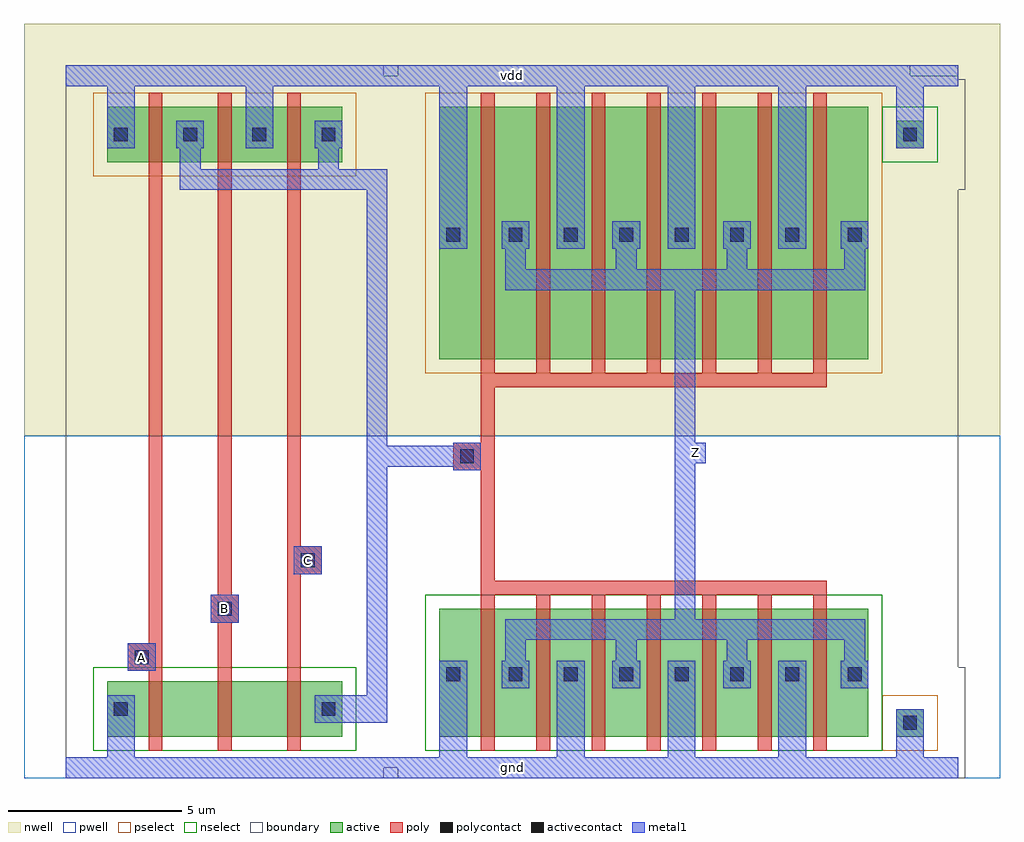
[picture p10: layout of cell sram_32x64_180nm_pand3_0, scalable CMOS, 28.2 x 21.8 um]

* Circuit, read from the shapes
.subckt sram_32x64_180nm_pand3_0 A B C Z gnd vdd
M1 sram_32x64_180nm_pnand3_0_0/sram_32x64_180nm_nmos_m1_w1_600_sm1_dactive_3/D A gnd gnd nfet w=1.6u l=0.4u
M2 sram_32x64_180nm_pnand3_0_0/sram_32x64_180nm_nmos_m1_w1_600_sactive_dactive_4/D B sram_32x64_180nm_pnand3_0_0/sram_32x64_180nm_nmos_m1_w1_600_sm1_dactive_3/D gnd nfet w=1.6u l=0.4u
M3 sram_32x64_180nm_pdriver_4_1/A C sram_32x64_180nm_pnand3_0_0/sram_32x64_180nm_nmos_m1_w1_600_sactive_dactive_4/D gnd nfet w=1.6u l=0.4u
M4 Z sram_32x64_180nm_pdriver_4_1/A gnd gnd nfet w=3.7u l=0.4u m=7
M5 sram_32x64_180nm_pdriver_4_1/A A vdd vdd pfet w=1.6u l=0.4u
M6 vdd B sram_32x64_180nm_pdriver_4_1/A vdd pfet w=1.6u l=0.4u
M7 sram_32x64_180nm_pdriver_4_1/A C vdd vdd pfet w=1.6u l=0.4u
M8 Z sram_32x64_180nm_pdriver_4_1/A vdd vdd pfet w=7.3u l=0.4u m=7
.ends

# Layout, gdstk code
import gdstk
lib = gdstk.Library(unit=1e-6, precision=1e-09)
def R(c, l, rs):  # rectangles x0, y0, x1, y1
    for r in rs: c.add(gdstk.rectangle(r[:2], r[2:], *l))
def A(c, l, x, y, w, h, nx, ny, dx, dy):  # array of equal rectangles
    R(c, l, [(x+i*dx, y+j*dy, x+i*dx+w, y+j*dy+h) for i in range(nx) for j in range(ny)])
pwell = (41, 0)
nwell = (42, 0)
active = (43, 0)
pselect = (44, 0)
nselect = (45, 0)
poly = (46, 0)
polycontact = (47, 0)
activecontact = (48, 0)
metal1 = (49, 0)
boundary = (63, 0)

sram_32x64_180nm_contact = lib.new_cell('sram_32x64_180nm_contact_12')
R(sram_32x64_180nm_contact, nwell, [(-1.2,-1.2,2,2)])
R(sram_32x64_180nm_contact, active, [(0,0,0.8,0.8)])
R(sram_32x64_180nm_contact, pselect, [(-0.4,-0.4,1.2,1.2)])
R(sram_32x64_180nm_contact, activecontact, [(0.2,0.2,0.6,0.6)])
R(sram_32x64_180nm_contact, metal1, [(0,0,0.8,0.8)])
R(sram_32x64_180nm_contact, boundary, [(-1.2,-1.2,2,2)])

sram_32x64_180nm_pmos_m1 = lib.new_cell('sram_32x64_180nm_pmos_m1_w1_600_sm1_dm1')
R(sram_32x64_180nm_pmos_m1, nwell, [(-1.2,-1.2,4,2.8)])
R(sram_32x64_180nm_pmos_m1, active, [(0,0,2.8,1.6)])
R(sram_32x64_180nm_pmos_m1, pselect, [(-0.4,-0.4,3.2,2)])
R(sram_32x64_180nm_pmos_m1, poly, [(1.2,-0.4,1.6,2), (1.2,-0.4,1.6,2)])
R(sram_32x64_180nm_pmos_m1, metal1, [(0,0.4,0.8,1.2), (2,0.4,2.8,1.2)])
R(sram_32x64_180nm_pmos_m1, boundary, [(-1.2,-1.2,4,2.8)])
sram_32x64_180nm_pmos_m1.add(gdstk.Reference(sram_32x64_180nm_contact, (0,0.4)))
sram_32x64_180nm_pmos_m1.add(gdstk.Reference(sram_32x64_180nm_contact, (2,0.4)))
sram_32x64_180nm_pmos_m1.add(gdstk.Label('G', (1.4,0.8), layer=46, texttype=0))
sram_32x64_180nm_pmos_m1.add(gdstk.Label('S', (0.4,0.8), layer=49, texttype=0))
sram_32x64_180nm_pmos_m1.add(gdstk.Label('D', (2.4,0.8), layer=49, texttype=0))

c_sram_32x64_180nm_contact = lib.new_cell('sram_32x64_180nm_contact_11')
R(c_sram_32x64_180nm_contact, pwell, [(-1.2,-1.2,2,2)])
R(c_sram_32x64_180nm_contact, active, [(0,0,0.8,0.8)])
R(c_sram_32x64_180nm_contact, nselect, [(-0.4,-0.4,1.2,1.2)])
R(c_sram_32x64_180nm_contact, activecontact, [(0.2,0.2,0.6,0.6)])
R(c_sram_32x64_180nm_contact, metal1, [(0,0,0.8,0.8)])
R(c_sram_32x64_180nm_contact, boundary, [(-1.2,-1.2,2,2)])

sram_32x64_180nm_nmos_m1 = lib.new_cell('sram_32x64_180nm_nmos_m1_w1_600_sm1_dactive')
R(sram_32x64_180nm_nmos_m1, pwell, [(-1.2,-1.2,4,2.8)])
R(sram_32x64_180nm_nmos_m1, active, [(0,0,2.8,1.6), (2.1,0.5,2.7,1.1)])
R(sram_32x64_180nm_nmos_m1, nselect, [(-0.4,-0.4,3.2,2)])
R(sram_32x64_180nm_nmos_m1, poly, [(1.2,-0.4,1.6,2), (1.2,-0.4,1.6,2)])
R(sram_32x64_180nm_nmos_m1, metal1, [(0,0.4,0.8,1.2)])
R(sram_32x64_180nm_nmos_m1, boundary, [(-1.2,-1.2,4,2.8)])
sram_32x64_180nm_nmos_m1.add(gdstk.Reference(c_sram_32x64_180nm_contact, (0,0.4)))
sram_32x64_180nm_nmos_m1.add(gdstk.Label('G', (1.4,0.8), layer=46, texttype=0))
sram_32x64_180nm_nmos_m1.add(gdstk.Label('S', (0.4,0.8), layer=49, texttype=0))
sram_32x64_180nm_nmos_m1.add(gdstk.Label('D', (2.4,0.8), layer=43, texttype=0))

c_sram_32x64_180nm_nmos_m1 = lib.new_cell('sram_32x64_180nm_nmos_m1_w1_600_sactive_dactive')
R(c_sram_32x64_180nm_nmos_m1, pwell, [(-1.2,-1.2,4,2.8)])
R(c_sram_32x64_180nm_nmos_m1, active, [(0,0,2.8,1.6), (0.1,0.5,0.7,1.1), (2.1,0.5,2.7,1.1)])
R(c_sram_32x64_180nm_nmos_m1, nselect, [(-0.4,-0.4,3.2,2)])
R(c_sram_32x64_180nm_nmos_m1, poly, [(1.2,-0.4,1.6,2), (1.2,-0.4,1.6,2)])
R(c_sram_32x64_180nm_nmos_m1, boundary, [(-1.2,-1.2,4,2.8)])
c_sram_32x64_180nm_nmos_m1.add(gdstk.Label('G', (1.4,0.8), layer=46, texttype=0))
c_sram_32x64_180nm_nmos_m1.add(gdstk.Label('S', (0.4,0.8), layer=43, texttype=0))
c_sram_32x64_180nm_nmos_m1.add(gdstk.Label('D', (2.4,0.8), layer=43, texttype=0))

c_sram_32x64_180nm_nmos_m1_ = lib.new_cell('sram_32x64_180nm_nmos_m1_w1_600_sactive_dm1')
R(c_sram_32x64_180nm_nmos_m1_, pwell, [(-1.2,-1.2,4,2.8)])
R(c_sram_32x64_180nm_nmos_m1_, active, [(0,0,2.8,1.6), (0.1,0.5,0.7,1.1)])
R(c_sram_32x64_180nm_nmos_m1_, nselect, [(-0.4,-0.4,3.2,2)])
R(c_sram_32x64_180nm_nmos_m1_, poly, [(1.2,-0.4,1.6,2), (1.2,-0.4,1.6,2)])
R(c_sram_32x64_180nm_nmos_m1_, metal1, [(2,0.4,2.8,1.2)])
R(c_sram_32x64_180nm_nmos_m1_, boundary, [(-1.2,-1.2,4,2.8)])
c_sram_32x64_180nm_nmos_m1_.add(gdstk.Reference(c_sram_32x64_180nm_contact, (2,0.4)))
c_sram_32x64_180nm_nmos_m1_.add(gdstk.Label('G', (1.4,0.8), layer=46, texttype=0))
c_sram_32x64_180nm_nmos_m1_.add(gdstk.Label('S', (0.4,0.8), layer=43, texttype=0))
c_sram_32x64_180nm_nmos_m1_.add(gdstk.Label('D', (2.4,0.8), layer=49, texttype=0))

c_sram_32x64_180nm_contact_ = lib.new_cell('sram_32x64_180nm_contact_15')
R(c_sram_32x64_180nm_contact_, poly, [(0,0,0.8,0.8)])
R(c_sram_32x64_180nm_contact_, polycontact, [(0.2,0.2,0.6,0.6)])
R(c_sram_32x64_180nm_contact_, metal1, [(0,0,0.8,0.8)])
R(c_sram_32x64_180nm_contact_, boundary, [(0,0,0.8,0.8)])

sram_32x64_180nm_pnand3_ = lib.new_cell('sram_32x64_180nm_pnand3_0')
R(sram_32x64_180nm_pnand3_, pwell, [(-1.2,-0.3,10.8,9.6)])
R(sram_32x64_180nm_pnand3_, nwell, [(-1.2,9.6,10.8,21.5)])
A(sram_32x64_180nm_pnand3_, poly, 2.4, 2.9, 0.4, 14.2, 3, 1, 2, 0)
R(sram_32x64_180nm_pnand3_, poly, [(2.2,2.8,2.4,3.6), (4.4,4.2,4.6,5), (6.4,5.6,7,6.4)])
R(sram_32x64_180nm_pnand3_, metal1, [(0,-0.3,9.6,0.3), (1.2,-0.3,2,1.3), (7.6,1.3,9,2.1), (8.7,1.3,9.3,17), (1.8,2.8,2.6,3.6), (4.2,4.2,5,5), (6.6,5.6,7.4,6.4), (3.3,16.7,3.9,17.3), (3.6,16.7,9,17.3), (7.3,16.7,7.9,17.3), (7.6,16.7,9,17.3), (8.7,16.7,9.3,17.3), (3.3,17,3.9,18.3), (7.3,17,7.9,18.3), (1.2,17.9,2,20.3), (5.2,17.9,6,20.3), (0,19.7,9.6,20.3)])
R(sram_32x64_180nm_pnand3_, boundary, [(0,0,9.6,20), (0,0,9.6,20)])
sram_32x64_180nm_pnand3_.add(gdstk.Reference(sram_32x64_180nm_pmos_m1, (1.2,17.5)))
sram_32x64_180nm_pnand3_.add(gdstk.Reference(sram_32x64_180nm_pmos_m1, (3.2,17.5)))
sram_32x64_180nm_pnand3_.add(gdstk.Reference(sram_32x64_180nm_pmos_m1, (5.2,17.5)))
sram_32x64_180nm_pnand3_.add(gdstk.Reference(sram_32x64_180nm_nmos_m1, (1.2,0.9)))
sram_32x64_180nm_pnand3_.add(gdstk.Reference(c_sram_32x64_180nm_nmos_m1, (3.2,0.9)))
sram_32x64_180nm_pnand3_.add(gdstk.Reference(c_sram_32x64_180nm_nmos_m1_, (5.2,0.9)))
sram_32x64_180nm_pnand3_.add(gdstk.Reference(c_sram_32x64_180nm_contact_, (1.8,2.8)))
sram_32x64_180nm_pnand3_.add(gdstk.Reference(c_sram_32x64_180nm_contact_, (4.2,4.2)))
sram_32x64_180nm_pnand3_.add(gdstk.Reference(c_sram_32x64_180nm_contact_, (6.6,5.6)))
sram_32x64_180nm_pnand3_.add(gdstk.Label('A', (2.2,3.2), layer=49, texttype=0))
sram_32x64_180nm_pnand3_.add(gdstk.Label('B', (4.6,4.6), layer=49, texttype=0))
sram_32x64_180nm_pnand3_.add(gdstk.Label('C', (7,6), layer=49, texttype=0))
sram_32x64_180nm_pnand3_.add(gdstk.Label('Z', (9,17), layer=49, texttype=0))
sram_32x64_180nm_pnand3_.add(gdstk.Label('gnd', (4.8,0), layer=49, texttype=0))
sram_32x64_180nm_pnand3_.add(gdstk.Label('vdd', (4.8,20), layer=49, texttype=0))

sram_32x64_180nm_pmos_m7 = lib.new_cell('sram_32x64_180nm_pmos_m7_w7_300_sm1_dm1_da_p')
R(sram_32x64_180nm_pmos_m7, nwell, [(-1.2,-1.2,13.6,8.5)])
R(sram_32x64_180nm_pmos_m7, active, [(0,0,12.4,7.3)])
R(sram_32x64_180nm_pmos_m7, pselect, [(-0.4,-0.4,12.8,7.7)])
A(sram_32x64_180nm_pmos_m7, poly, 1.2, -0.4, 0.4, 8.1, 7, 1, 1.6, 0)
R(sram_32x64_180nm_pmos_m7, poly, [(1.2,-0.8,11.2,-0.4)])
A(sram_32x64_180nm_pmos_m7, metal1, 1.9, 2.4, 0.6, 1.2, 3, 1, 3.2, 0)
A(sram_32x64_180nm_pmos_m7, metal1, 3.4, 3.2, 0.8, 0.8, 3, 1, 3.2, 0)
R(sram_32x64_180nm_pmos_m7, metal1, [(1.9,2,12.3,2.6), (11.7,2.4,12.3,3.6), (0,3.2,0.8,4)])
R(sram_32x64_180nm_pmos_m7, boundary, [(-1.2,-1.2,13.6,8.5)])
sram_32x64_180nm_pmos_m7.add(gdstk.Reference(sram_32x64_180nm_contact, (0,3.2)))
sram_32x64_180nm_pmos_m7.add(gdstk.Reference(sram_32x64_180nm_contact, (1.8,3.2)))
sram_32x64_180nm_pmos_m7.add(gdstk.Reference(sram_32x64_180nm_contact, (3.4,3.2)))
sram_32x64_180nm_pmos_m7.add(gdstk.Reference(sram_32x64_180nm_contact, (5,3.2)))
sram_32x64_180nm_pmos_m7.add(gdstk.Reference(sram_32x64_180nm_contact, (6.6,3.2)))
sram_32x64_180nm_pmos_m7.add(gdstk.Reference(sram_32x64_180nm_contact, (8.2,3.2)))
sram_32x64_180nm_pmos_m7.add(gdstk.Reference(sram_32x64_180nm_contact, (9.8,3.2)))
sram_32x64_180nm_pmos_m7.add(gdstk.Reference(sram_32x64_180nm_contact, (11.6,3.2)))
sram_32x64_180nm_pmos_m7.add(gdstk.Label('G', (6.2,-0.6), layer=46, texttype=0))
sram_32x64_180nm_pmos_m7.add(gdstk.Label('S', (0.4,3.6), layer=49, texttype=0))
sram_32x64_180nm_pmos_m7.add(gdstk.Label('S', (3.8,3.6), layer=49, texttype=0))
sram_32x64_180nm_pmos_m7.add(gdstk.Label('S', (10.2,3.6), layer=49, texttype=0))
sram_32x64_180nm_pmos_m7.add(gdstk.Label('S', (7,3.6), layer=49, texttype=0))
sram_32x64_180nm_pmos_m7.add(gdstk.Label('D', (7.1,2.3), layer=49, texttype=0))

sram_32x64_180nm_nmos_m7 = lib.new_cell('sram_32x64_180nm_nmos_m7_w3_700_sm1_dm1_da_p')
R(sram_32x64_180nm_nmos_m7, pwell, [(-1.2,-1.2,13.6,4.9)])
R(sram_32x64_180nm_nmos_m7, active, [(0,0,12.4,3.7)])
R(sram_32x64_180nm_nmos_m7, nselect, [(-0.4,-0.4,12.8,4.1)])
A(sram_32x64_180nm_nmos_m7, poly, 1.2, -0.4, 0.4, 4.5, 7, 1, 1.6, 0)
R(sram_32x64_180nm_nmos_m7, poly, [(1.2,4.1,11.2,4.5)])
A(sram_32x64_180nm_nmos_m7, metal1, 3.4, 1.4, 0.8, 0.8, 3, 1, 3.2, 0)
A(sram_32x64_180nm_nmos_m7, metal1, 1.9, 1.8, 0.6, 1.4, 3, 1, 3.2, 0)
R(sram_32x64_180nm_nmos_m7, metal1, [(0,1.4,0.8,2.2), (11.7,1.8,12.3,3.2), (1.9,2.8,12.3,3.4)])
R(sram_32x64_180nm_nmos_m7, boundary, [(-1.2,-1.2,13.6,4.9)])
sram_32x64_180nm_nmos_m7.add(gdstk.Reference(c_sram_32x64_180nm_contact, (0,1.4)))
sram_32x64_180nm_nmos_m7.add(gdstk.Reference(c_sram_32x64_180nm_contact, (1.8,1.4)))
sram_32x64_180nm_nmos_m7.add(gdstk.Reference(c_sram_32x64_180nm_contact, (3.4,1.4)))
sram_32x64_180nm_nmos_m7.add(gdstk.Reference(c_sram_32x64_180nm_contact, (5,1.4)))
sram_32x64_180nm_nmos_m7.add(gdstk.Reference(c_sram_32x64_180nm_contact, (6.6,1.4)))
sram_32x64_180nm_nmos_m7.add(gdstk.Reference(c_sram_32x64_180nm_contact, (8.2,1.4)))
sram_32x64_180nm_nmos_m7.add(gdstk.Reference(c_sram_32x64_180nm_contact, (9.8,1.4)))
sram_32x64_180nm_nmos_m7.add(gdstk.Reference(c_sram_32x64_180nm_contact, (11.6,1.4)))
sram_32x64_180nm_nmos_m7.add(gdstk.Label('G', (6.2,4.3), layer=46, texttype=0))
sram_32x64_180nm_nmos_m7.add(gdstk.Label('S', (10.2,1.8), layer=49, texttype=0))
sram_32x64_180nm_nmos_m7.add(gdstk.Label('S', (0.4,1.8), layer=49, texttype=0))
sram_32x64_180nm_nmos_m7.add(gdstk.Label('S', (7,1.8), layer=49, texttype=0))
sram_32x64_180nm_nmos_m7.add(gdstk.Label('S', (3.8,1.8), layer=49, texttype=0))
sram_32x64_180nm_nmos_m7.add(gdstk.Label('D', (7.1,3.1), layer=49, texttype=0))

c_sram_32x64_180nm_contact__ = lib.new_cell('sram_32x64_180nm_contact_13')
R(c_sram_32x64_180nm_contact__, nwell, [(-1.2,-1.2,2,2)])
R(c_sram_32x64_180nm_contact__, active, [(0,0,0.8,0.8)])
R(c_sram_32x64_180nm_contact__, nselect, [(-0.4,-0.4,1.2,1.2)])
R(c_sram_32x64_180nm_contact__, activecontact, [(0.2,0.2,0.6,0.6)])
R(c_sram_32x64_180nm_contact__, metal1, [(0,0,0.8,0.8)])
R(c_sram_32x64_180nm_contact__, boundary, [(-1.2,-1.2,2,2)])

c_sram_32x64_180nm_contact___ = lib.new_cell('sram_32x64_180nm_contact_14')
R(c_sram_32x64_180nm_contact___, pwell, [(-1.2,-1.2,2,2)])
R(c_sram_32x64_180nm_contact___, active, [(0,0,0.8,0.8)])
R(c_sram_32x64_180nm_contact___, pselect, [(-0.4,-0.4,1.2,1.2)])
R(c_sram_32x64_180nm_contact___, activecontact, [(0.2,0.2,0.6,0.6)])
R(c_sram_32x64_180nm_contact___, metal1, [(0,0,0.8,0.8)])
R(c_sram_32x64_180nm_contact___, boundary, [(-1.2,-1.2,2,2)])

sram_32x64_180nm_pinv_15 = lib.new_cell('sram_32x64_180nm_pinv_15')
R(sram_32x64_180nm_pinv_15, pwell, [(-1.2,-0.3,17.4,9.6)])
R(sram_32x64_180nm_pinv_15, nwell, [(-1.2,9.6,17.4,21.5)])
R(sram_32x64_180nm_pinv_15, poly, [(2.4,5.4,2.8,11), (2,8.6,2.4,9.4)])
A(sram_32x64_180nm_pinv_15, metal1, 4.6, -0.3, 0.8, 2.6, 3, 1, 3.2, 0)
A(sram_32x64_180nm_pinv_15, metal1, 4.6, 15, 0.8, 5.3, 3, 1, 3.2, 0)
R(sram_32x64_180nm_pinv_15, metal1, [(0,-0.3,16.2,0.3), (1.2,-0.3,2,2.3), (14.4,0,15.2,1.3), (8,3.7,8.6,14.4), (1.6,8.6,2.4,9.4), (8.3,8.8,8.9,9.4), (1.2,15,2,20.3), (14.4,18.3,15.2,20), (0,19.7,16.2,20.3)])
R(sram_32x64_180nm_pinv_15, boundary, [(0,0,16.2,20), (0,0,16.2,20)])
sram_32x64_180nm_pinv_15.add(gdstk.Reference(sram_32x64_180nm_pmos_m7, (1.2,11.8)))
sram_32x64_180nm_pinv_15.add(gdstk.Reference(sram_32x64_180nm_nmos_m7, (1.2,0.9)))
sram_32x64_180nm_pinv_15.add(gdstk.Reference(c_sram_32x64_180nm_contact__, (14.4,17.9)))
sram_32x64_180nm_pinv_15.add(gdstk.Reference(c_sram_32x64_180nm_contact___, (14.4,0.9)))
sram_32x64_180nm_pinv_15.add(gdstk.Reference(c_sram_32x64_180nm_contact_, (1.6,8.6)))
sram_32x64_180nm_pinv_15.add(gdstk.Label('A', (2,9), layer=49, texttype=0))
sram_32x64_180nm_pinv_15.add(gdstk.Label('Z', (8.6,9.1), layer=49, texttype=0))
sram_32x64_180nm_pinv_15.add(gdstk.Label('gnd', (8.1,0), layer=49, texttype=0))
sram_32x64_180nm_pinv_15.add(gdstk.Label('vdd', (8.1,20), layer=49, texttype=0))

sram_32x64_180nm_pdriver = lib.new_cell('sram_32x64_180nm_pdriver_4')
R(sram_32x64_180nm_pdriver, pwell, [(-1.2,-0.3,17.4,9.6)])
R(sram_32x64_180nm_pdriver, nwell, [(-1.2,9.6,17.4,21.5)])
R(sram_32x64_180nm_pdriver, metal1, [(0,-0.3,16.2,0.3), (1.6,8.6,2.4,9.4), (8.3,8.8,8.9,9.4), (0,19.7,16.2,20.3)])
R(sram_32x64_180nm_pdriver, boundary, [(0,0,16.2,20), (0,0,16.2,20)])
sram_32x64_180nm_pdriver.add(gdstk.Reference(sram_32x64_180nm_pinv_15, (0,0)))
sram_32x64_180nm_pdriver.add(gdstk.Label('Z', (8.6,9.1), layer=49, texttype=0))
sram_32x64_180nm_pdriver.add(gdstk.Label('A', (2,9), layer=49, texttype=0))
sram_32x64_180nm_pdriver.add(gdstk.Label('gnd', (8.1,0), layer=49, texttype=0))
sram_32x64_180nm_pdriver.add(gdstk.Label('vdd', (8.1,20), layer=49, texttype=0))

sram_32x64_180nm_pand3_0 = lib.new_cell('sram_32x64_180nm_pand3_0')
R(sram_32x64_180nm_pand3_0, metal1, [(0,-0.3,25.8,0.3), (1.8,2.8,2.6,3.6), (4.2,4.2,5,5), (6.6,5.6,7.4,6.4), (8.7,8.7,9.3,9.3), (9,8.7,11.6,9.3), (17.9,8.8,18.5,9.4), (8.7,9,9.3,17), (0,19.7,25.8,20.3)])
R(sram_32x64_180nm_pand3_0, boundary, [(0,0,25.8,20), (0,0,25.8,20)])
sram_32x64_180nm_pand3_0.add(gdstk.Reference(sram_32x64_180nm_pnand3_, (0,0)))
sram_32x64_180nm_pand3_0.add(gdstk.Reference(sram_32x64_180nm_pdriver, (9.6,0)))
sram_32x64_180nm_pand3_0.add(gdstk.Label('Z', (18.2,9.1), layer=49, texttype=0))
sram_32x64_180nm_pand3_0.add(gdstk.Label('A', (2.2,3.2), layer=49, texttype=0))
sram_32x64_180nm_pand3_0.add(gdstk.Label('B', (4.6,4.6), layer=49, texttype=0))
sram_32x64_180nm_pand3_0.add(gdstk.Label('C', (7,6), layer=49, texttype=0))
sram_32x64_180nm_pand3_0.add(gdstk.Label('gnd', (12.9,0), layer=49, texttype=0))
sram_32x64_180nm_pand3_0.add(gdstk.Label('vdd', (12.9,20), layer=49, texttype=0))

lib.write_gds('sram_32x64_180nm_pand3_0.gds')
